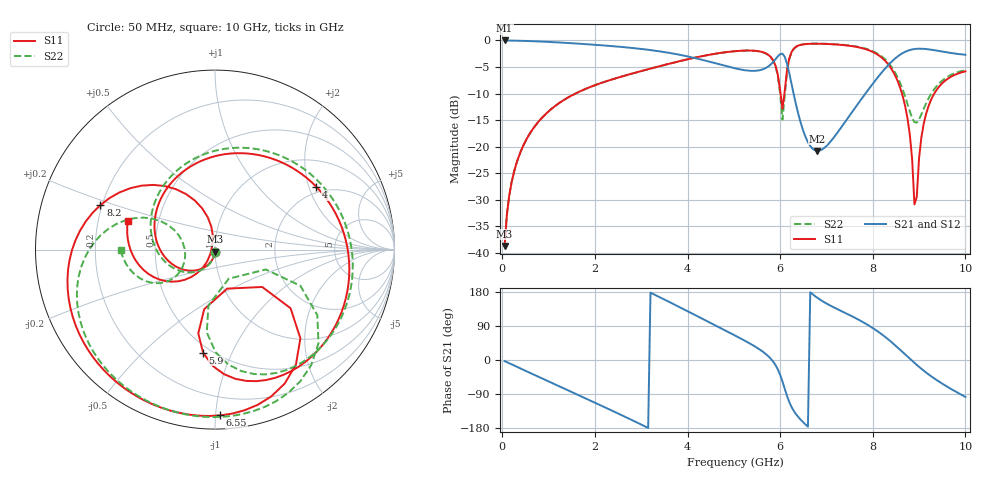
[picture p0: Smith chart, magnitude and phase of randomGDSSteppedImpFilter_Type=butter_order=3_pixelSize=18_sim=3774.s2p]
! freq	dB(S11)	phase(S11)	dB(S12)	phase(S12)
!  dB(S21)	phase(S21)	dB(S22)	phase(S22)
!S-par simulation data
#  GHz  S  DB  R 50
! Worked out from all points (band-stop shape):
!   200 points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, 50 MHz to 10 GHz, reference 50 ohm
!   highest |S21| = 0.00 dB at 50 MHz (marker M1); lowest = -20.8 dB at 6.8 GHz (marker M2)
!   |S21| within 3 dB of the highest: start of sweep to 3.997 GHz; 8.539 GHz to end of sweep (the widest 2 of 3)
!   lowest |S11| = -38.7 dB at 50 MHz (marker M3), VSWR 1.02, Z = 49.9 - j1.15 ohm
!   |S11| at or under -10 dB: start of sweep to 1.581 GHz; 6.008 GHz to 6.092 GHz (84.18 MHz wide, 1.39 % of centre); 8.629 GHz to 9.329 GHz (700.2 MHz wide, 7.8 % of centre)
!   |S22| runs from -38.8 to -0.6 dB; largest |S21 - S12| = 0
!   S11 on the Smith chart (normalised r, x): 50 MHz: 1.00, -0.02; 4 GHz: 1.79, +2.24; 5.9 GHz: 0.45, -0.78; 6.55 GHz: 0.08, -1.03; 8.2 GHz: 0.19, +0.18; 10 GHz: 0.33, +0.14
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0.05  -38.73 -92.6  -0.00 -2.9  -0.00 -2.9  -38.77 -92.4
0.2  -26.78 -101.9  -0.03 -11.4  -0.03 -11.4  -26.77 -100.8
0.5  -18.99 -120.1  -0.09 -28.4  -0.09 -28.4  -18.99 -117.8
1.75  -9.31 166.5  -0.67 -98.6  -0.67 -98.6  -9.31 174.6
2.65  -6.62 113.5  -1.29 -149.8  -1.29 -149.8  -6.62 125.1
3.4  -4.85 68.4  -2.06 165.7  -2.06 165.7  -4.85 81.3
4  -3.55 31.8  -3.01 128.8  -3.01 128.8  -3.56 44.4
5.05  -2.01 -32.3  -5.30 63.0  -5.30 63.0  -2.01 -21.8
5.9  -4.76 -96.6  -3.55 -13.4  -3.55 -13.4  -4.87 -89.7
6.05  -12.85 -72.8  -2.50 -56.7  -2.50 -56.7  -14.93 -64.7
6.1  -9.49 -38.4  -3.10 -76.4  -3.10 -76.4  -10.35 -21.4
6.25  -2.12 -54.9  -8.38 -125.0  -8.38 -125.0  -2.18 -42.2
6.55  -0.69 -88.2  -18.22 -170.4  -18.22 -170.4  -0.67 -76.8
6.7  -0.62 -99.0  -20.41 173.7  -20.41 173.7  -0.60 -87.7
6.8  -0.62 -105.6  -20.81 164.4  -20.81 164.4  -0.60 -94.1
7.6  -1.14 -154.7  -12.92 112.4  -12.92 112.4  -1.07 -140.2
8.2  -3.29 158.7  -5.97 67.2  -5.97 67.2  -3.07 -179.9
8.35  -4.69 144.1  -4.50 52.8  -4.50 52.8  -4.36 169.0
8.75  -14.69 102.6  -1.96 8.9  -1.96 8.9  -11.96 154.2
8.9  -30.89 122.1  -1.62 -7.7  -1.62 -7.7  -15.40 177.8
9.2  -12.47 -135.1  -1.67 -37.5  -1.67 -37.5  -10.99 -145.5
10  -5.83 162.0  -2.70 -97.5  -2.70 -97.5  -5.58 -179.8
